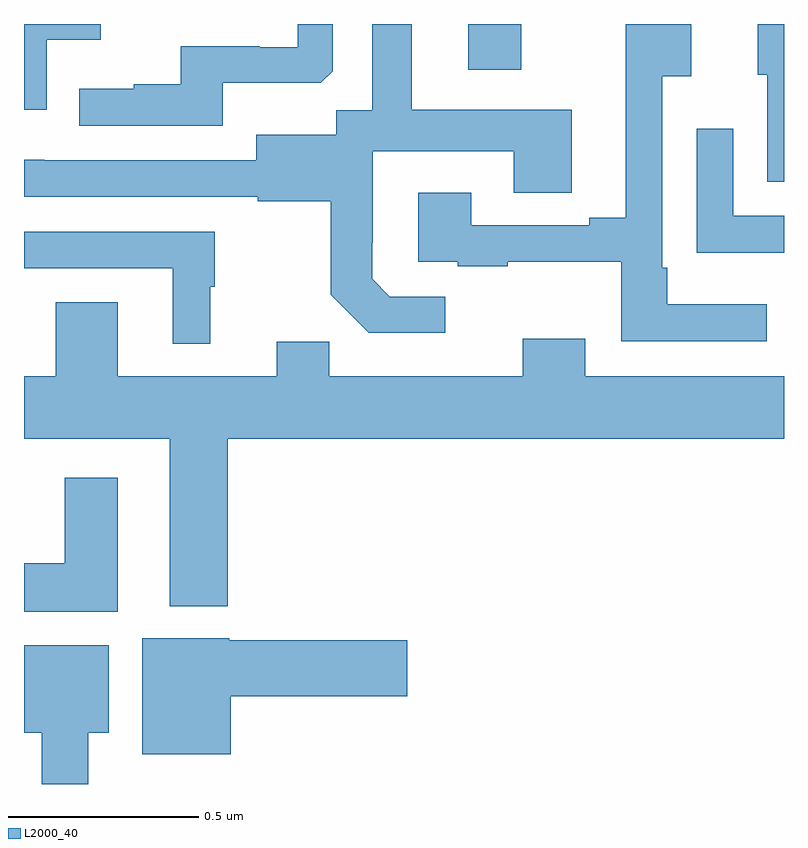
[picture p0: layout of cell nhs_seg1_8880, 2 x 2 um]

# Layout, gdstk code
import gdstk
lib = gdstk.Library(unit=1e-6, precision=1e-09)
def R(c, l, rs):  # rectangles x0, y0, x1, y1
    for r in rs: c.add(gdstk.rectangle(r[:2], r[2:], *l))
def P(c, l, *ps):  # polygons
    for p in ps: c.add(gdstk.Polygon(p, *l))
L2000_40 = (2000, 40)

nhs_seg1_8880 = lib.new_cell('nhs_seg1_8880')
R(nhs_seg1_8880, L2000_40, [(223.169,510.078,223.309,510.199)])
P(nhs_seg1_8880, L2000_40, [(224,510.199),(223.931,510.199),(223.931,510.066),(223.956,510.066),(223.956,509.784),(224,509.784)],
  [(222.06,510.158),(222.202,510.158),(222.202,510.199),(222,510.199),(222,509.973),(222.06,509.973)],
  [(223.108,509.481),(222.963,509.481),(222.916,509.528),(222.916,509.623),(222.918,509.623),(222.918,509.864),(223.289,509.864),(223.289,509.755),(223.441,509.755),(223.441,509.974),(223.021,509.974),(223.021,510.199),(222.917,510.199),(222.917,509.972),(222.822,509.972),(222.822,509.908),(222.611,509.908),(222.611,509.841),(222.053,509.841),(222.053,509.842),(222,509.842),(222,509.745),(222.615,509.745),(222.615,509.733),(222.807,509.733),(222.807,509.487),(222.907,509.387),(223.108,509.387)],
  [(223.954,509.461),(223.693,509.461),(223.693,509.557),(223.68,509.557),(223.68,510.062),(223.756,510.062),(223.756,510.199),(223.583,510.199),(223.583,509.689),(223.487,509.689),(223.487,509.67),(223.177,509.67),(223.177,509.755),(223.037,509.755),(223.037,509.574),(223.141,509.574),(223.141,509.562),(223.273,509.562),(223.273,509.573),(223.572,509.573),(223.572,509.364),(223.954,509.364)],
  [(222.523,510.044),(222.781,510.044),(222.813,510.075),(222.813,510.199),(222.72,510.199),(222.72,510.138),(222.62,510.138),(222.62,510.141),(222.413,510.141),(222.413,510.04),(222.289,510.04),(222.289,510.028),(222.145,510.028),(222.145,509.931),(222.523,509.931)],
  [(224,509.694),(223.866,509.694),(223.866,509.923),(223.77,509.923),(223.77,509.597),(224,509.597)],
  [(222.49,509.508),(222.502,509.508),(222.502,509.652),(222,509.652),(222,509.556),(222.392,509.556),(222.392,509.357),(222.49,509.357)],
  [(222.083,509.467),(222.083,509.272),(222,509.272),(222,509.108),(222.383,509.108),(222.383,508.667),(222.536,508.667),(222.536,509.108),(224,509.108),(224,509.272),(223.477,509.272),(223.477,509.371),(223.313,509.371),(223.313,509.272),(222.803,509.272),(222.803,509.363),(222.665,509.363),(222.665,509.272),(222.247,509.272),(222.247,509.467)],
  [(222.247,509.005),(222.107,509.005),(222.107,508.78),(222,508.78),(222,508.652),(222.247,508.652)],
  [(222.544,508.43),(223.009,508.43),(223.009,508.577),(222.54,508.577),(222.54,508.582),(222.311,508.582),(222.311,508.277),(222.544,508.277)],
  [(222.169,508.334),(222.223,508.334),(222.223,508.564),(222,508.564),(222,508.334),(222.047,508.334),(222.047,508.199),(222.169,508.199)])

lib.write_gds('nhs_seg1_8880.gds')
